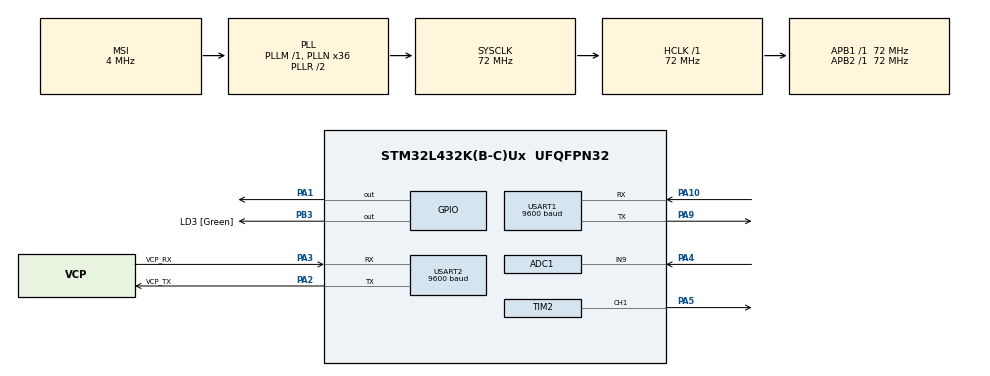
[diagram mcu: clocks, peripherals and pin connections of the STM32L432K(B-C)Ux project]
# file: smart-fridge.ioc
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ADC1.Channel-0\#ChannelRegularConversion=ADC_CHANNEL_9
ADC1.NbrOfConversionFlag=1
ADC1.OffsetNumber-0\#ChannelRegularConversion=ADC_OFFSET_NONE
ADC1.Rank-0\#ChannelRegularConversion=1
ADC1.Resolution=ADC_RESOLUTION_10B
ADC1.SamplingTime-0\#ChannelRegularConversion=ADC_SAMPLETIME_2CYCLES_5
ADC1.master=1
Mcu.Family=STM32L4
Mcu.Name=STM32L432K(B-C)Ux
Mcu.Package=UFQFPN32
NVIC.ADC1_IRQn=true\:0\:0\:false\:false\:true\:true\:true\:true
NVIC.PriorityGroup=NVIC_PRIORITYGROUP_4
NVIC.TIM2_IRQn=true\:0\:0\:false\:false\:true\:true\:true\:true
NVIC.USART1_IRQn=true\:0\:0\:false\:false\:true\:true\:true\:true
NVIC.USART2_IRQn=true\:0\:0\:false\:false\:true\:true\:true\:true
PA0.GPIO_Label=MCO [High speed clock in]
PA0.Mode=HSE-External-Clock-Source-for-LittleOrca
PA0.Signal=RCC_CK_IN
PA1.Signal=GPIO_Output
PA10.Mode=Asynchronous
PA10.Signal=USART1_RX
PA13\ (JTMS-SWDIO).GPIO_Label=SWDIO
PA13\ (JTMS-SWDIO).Mode=Serial_Wire
PA13\ (JTMS-SWDIO).Signal=SYS_JTMS-SWDIO
PA14\ (JTCK-SWCLK).GPIO_Label=SWCLK
PA14\ (JTCK-SWCLK).Mode=Serial_Wire
PA14\ (JTCK-SWCLK).Signal=SYS_JTCK-SWCLK
PA2.GPIO_Label=VCP_TX
PA2.Mode=Asynchronous
PA2.Signal=USART2_TX
PA3.GPIO_Label=VCP_RX
PA3.Mode=Asynchronous
PA3.Signal=USART2_RX
PA4.Signal=ADCx_IN9
PA5.Signal=S_TIM2_CH1
PA9.Mode=Asynchronous
PA9.Signal=USART1_TX
PB3\ (JTDO-TRACESWO).GPIO_Label=LD3 [Green]
PB3\ (JTDO-TRACESWO).Signal=GPIO_Output
PC14-OSC32_IN\ (PC14).Mode=LSE-External-Oscillator
PC14-OSC32_IN\ (PC14).Signal=RCC_OSC32_IN
PC15-OSC32_OUT\ (PC15).Mode=LSE-External-Oscillator
PC15-OSC32_OUT\ (PC15).Signal=RCC_OSC32_OUT
ProjectManager.HeapSize=0x200
ProjectManager.StackSize=0x400
ProjectManager.TargetToolchain=MDK-ARM V5.32
RCC.ADCFreq_Value=32000000
RCC.AHBFreq_Value=72000000
RCC.APB1Freq_Value=72000000
RCC.APB1TimFreq_Value=72000000
RCC.APB2Freq_Value=72000000
RCC.APB2TimFreq_Value=72000000
RCC.CortexFreq_Value=72000000
RCC.HCLKFreq_Value=72000000
RCC.HSE_VALUE=8000000
RCC.HSI16_VALUE=16000000
RCC.HSI48_VALUE=48000000
RCC.HSI_VALUE=16000000
RCC.MSI_VALUE=4000000
RCC.PLLMUL=RCC_PLLMUL_4
RCC.PLLN=36
RCC.PLLSAI1N=16
RCC.SYSCLKFreq_VALUE=72000000
RCC.SYSCLKSource=RCC_SYSCLKSOURCE_PLLCLK
RCC.USBFreq_Value=32000000
RCC.VCOOutputFreq_Value=144000000
SH.ADCx_IN9.0=ADC1_IN9,IN9-Single-Ended
SH.S_TIM2_CH1.0=TIM2_CH1,PWM Generation1 CH1
TIM1.Prescaler=31
TIM2.AutoReloadPreload=TIM_AUTORELOAD_PRELOAD_ENABLE
TIM2.Channel-PWM\ Generation1\ CH1=TIM_CHANNEL_1
TIM2.Period=99
TIM2.Prescaler=719
USART1.BaudRate=9600
USART1.Mode=MODE_RX
USART1.VirtualMode-Asynchronous=VM_ASYNC
USART2.BaudRate=9600
USART2.VirtualMode-Asynchronous=VM_ASYNC
VP_TIM1_VS_ClockSourceINT.Mode=Internal
VP_TIM2_VS_ClockSourceINT.Mode=Internal
board=NUCLEO-L432KC

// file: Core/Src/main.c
/* USER CODE BEGIN Header */
/**
  ******************************************************************************
  * @file           : main.c
  * @brief          : Main program body
  ******************************************************************************
  * @attention
  *
  * Copyright (c) 2022 STMicroelectronics.
  * All rights reserved.
  *
  * This software is licensed under terms that can be found in the LICENSE file
  * in the root directory of this software component.
  * If no LICENSE file comes with this software, it is provided AS-IS.
  *
  ******************************************************************************
  */
/* USER CODE END Header */
#include "main.h"

/* USER CODE BEGIN Includes */
#include "stdio.h"
#include "stdlib.h"
#include "string.h"
/* USER CODE END Includes */

 ADC_HandleTypeDef hadc1;

TIM_HandleTypeDef htim1;
TIM_HandleTypeDef htim2;

UART_HandleTypeDef huart1;
UART_HandleTypeDef huart2;

/* USER CODE BEGIN PV */
float raw =0;
float TempValue =0;
uint8_t uartBuff[100] = {0};
uint8_t rxtemp;
/* USER CODE END PV */

void SystemClock_Config(void);
static void MX_GPIO_Init(void);
static void MX_ADC1_Init(void);
static void MX_TIM1_Init(void);
static void MX_USART2_UART_Init(void);
static void MX_USART1_UART_Init(void);
static void MX_TIM2_Init(void);

int main(void)
{

  /* MCU Configuration--------------------------------------------------------*/

  /* Reset of all peripherals, Initializes the Flash interface and the Systick. */
  HAL_Init();

  /* Configure the system clock */
  SystemClock_Config();

  /* Initialize all configured peripherals */
  MX_GPIO_Init();
  MX_ADC1_Init();
  MX_TIM1_Init();
  MX_USART2_UART_Init();
  MX_USART1_UART_Init();
  MX_TIM2_Init();
  /* USER CODE BEGIN 2 */
	 HAL_TIM_Base_Init(&htim1);
	 HAL_TIM_Base_Start(&htim1);
	 HAL_TIM_Base_Init(&htim2);
	 HAL_TIM_PWM_Start(&htim2, TIM_CHANNEL_1);
	 HAL_ADCEx_Calibration_Start(&hadc1, ADC_CHANNEL_9);
	 TIM2->CCR1 = 50; /* 50% duty cycle*/
	 HAL_UART_Receive_IT(&huart2, &rxtemp,sizeof(rxtemp));

  /* USER CODE END 2 */

  /* Infinite loop */
  while (1)
  {

    /* USER CODE BEGIN 3 */

		/* LM35 */
		// Start ADC Conversion
		HAL_ADC_Start_IT(&hadc1);
		HAL_Delay(1000);

  }
  /* USER CODE END 3 */
}

void SystemClock_Config(void)
{
  RCC_OscInitTypeDef RCC_OscInitStruct = {0};
  RCC_ClkInitTypeDef RCC_ClkInitStruct = {0};

  /** Configure the main internal regulator output voltage
  */
  if (HAL_PWREx_ControlVoltageScaling(PWR_REGULATOR_VOLTAGE_SCALE1) != HAL_OK)
  {
    Error_Handler();
  }

  /** Configure LSE Drive Capability
  */
  HAL_PWR_EnableBkUpAccess();
  __HAL_RCC_LSEDRIVE_CONFIG(RCC_LSEDRIVE_LOW);

  /** Initializes the RCC Oscillators according to the specified parameters
  * in the RCC_OscInitTypeDef structure.
  */
  RCC_OscInitStruct.OscillatorType = RCC_OSCILLATORTYPE_LSE|RCC_OSCILLATORTYPE_MSI;
  RCC_OscInitStruct.LSEState = RCC_LSE_ON;
  RCC_OscInitStruct.MSIState = RCC_MSI_ON;
  RCC_OscInitStruct.MSICalibrationValue = 0;
  RCC_OscInitStruct.MSIClockRange = RCC_MSIRANGE_6;
  RCC_OscInitStruct.PLL.PLLState = RCC_PLL_ON;
  RCC_OscInitStruct.PLL.PLLSource = RCC_PLLSOURCE_MSI;
  RCC_OscInitStruct.PLL.PLLM = 1;
  RCC_OscInitStruct.PLL.PLLN = 36;
  RCC_OscInitStruct.PLL.PLLP = RCC_PLLP_DIV7;
  RCC_OscInitStruct.PLL.PLLQ = RCC_PLLQ_DIV2;
  RCC_OscInitStruct.PLL.PLLR = RCC_PLLR_DIV2;
  if (HAL_RCC_OscConfig(&RCC_OscInitStruct) != HAL_OK)
  {
    Error_Handler();
  }

  /** Initializes the CPU, AHB and APB buses clocks
  */
  RCC_ClkInitStruct.ClockType = RCC_CLOCKTYPE_HCLK|RCC_CLOCKTYPE_SYSCLK
                              |RCC_CLOCKTYPE_PCLK1|RCC_CLOCKTYPE_PCLK2;
  RCC_ClkInitStruct.SYSCLKSource = RCC_SYSCLKSOURCE_PLLCLK;
  RCC_ClkInitStruct.AHBCLKDivider = RCC_SYSCLK_DIV1;
  RCC_ClkInitStruct.APB1CLKDivider = RCC_HCLK_DIV1;
  RCC_ClkInitStruct.APB2CLKDivider = RCC_HCLK_DIV1;

  if (HAL_RCC_ClockConfig(&RCC_ClkInitStruct, FLASH_LATENCY_4) != HAL_OK)
  {
    Error_Handler();
  }

  /** Enable MSI Auto calibration
  */
  HAL_RCCEx_EnableMSIPLLMode();
}

static void MX_ADC1_Init(void)
{

  ADC_ChannelConfTypeDef sConfig = {0};

  /** Common config
  */
  hadc1.Instance = ADC1;
  hadc1.Init.ClockPrescaler = ADC_CLOCK_ASYNC_DIV1;
  hadc1.Init.Resolution = ADC_RESOLUTION_10B;
  hadc1.Init.DataAlign = ADC_DATAALIGN_RIGHT;
  hadc1.Init.ScanConvMode = ADC_SCAN_DISABLE;
  hadc1.Init.EOCSelection = ADC_EOC_SINGLE_CONV;
  hadc1.Init.LowPowerAutoWait = DISABLE;
  hadc1.Init.ContinuousConvMode = DISABLE;
  hadc1.Init.NbrOfConversion = 1;
  hadc1.Init.DiscontinuousConvMode = DISABLE;
  hadc1.Init.ExternalTrigConv = ADC_SOFTWARE_START;
  hadc1.Init.ExternalTrigConvEdge = ADC_EXTERNALTRIGCONVEDGE_NONE;
  hadc1.Init.DMAContinuousRequests = DISABLE;
  hadc1.Init.Overrun = ADC_OVR_DATA_PRESERVED;
  hadc1.Init.OversamplingMode = DISABLE;
  if (HAL_ADC_Init(&hadc1) != HAL_OK)
  {
    Error_Handler();
  }

  /** Configure Regular Channel
  */
  sConfig.Channel = ADC_CHANNEL_9;
  sConfig.Rank = ADC_REGULAR_RANK_1;
  sConfig.SamplingTime = ADC_SAMPLETIME_2CYCLES_5;
  sConfig.SingleDiff = ADC_SINGLE_ENDED;
  sConfig.OffsetNumber = ADC_OFFSET_NONE;
  sConfig.Offset = 0;
  if (HAL_ADC_ConfigChannel(&hadc1, &sConfig) != HAL_OK)
  {
    Error_Handler();
  }

}

static void MX_TIM1_Init(void)
{

  TIM_ClockConfigTypeDef sClockSourceConfig = {0};
  TIM_MasterConfigTypeDef sMasterConfig = {0};

  htim1.Instance = TIM1;
  htim1.Init.Prescaler = 31;
  htim1.Init.CounterMode = TIM_COUNTERMODE_UP;
  htim1.Init.Period = 65535;
  htim1.Init.ClockDivision = TIM_CLOCKDIVISION_DIV1;
  htim1.Init.RepetitionCounter = 0;
  htim1.Init.AutoReloadPreload = TIM_AUTORELOAD_PRELOAD_DISABLE;
  if (HAL_TIM_Base_Init(&htim1) != HAL_OK)
  {
    Error_Handler();
  }
  sClockSourceConfig.ClockSource = TIM_CLOCKSOURCE_INTERNAL;
  if (HAL_TIM_ConfigClockSource(&htim1, &sClockSourceConfig) != HAL_OK)
  {
    Error_Handler();
  }
  sMasterConfig.MasterOutputTrigger = TIM_TRGO_RESET;
  sMasterConfig.MasterOutputTrigger2 = TIM_TRGO2_RESET;
  sMasterConfig.MasterSlaveMode = TIM_MASTERSLAVEMODE_DISABLE;
  if (HAL_TIMEx_MasterConfigSynchronization(&htim1, &sMasterConfig) != HAL_OK)
  {
    Error_Handler();
  }

}

static void MX_TIM2_Init(void)
{

  TIM_ClockConfigTypeDef sClockSourceConfig = {0};
  TIM_MasterConfigTypeDef sMasterConfig = {0};
  TIM_OC_InitTypeDef sConfigOC = {0};

  htim2.Instance = TIM2;
  htim2.Init.Prescaler = 719;
  htim2.Init.CounterMode = TIM_COUNTERMODE_UP;
  htim2.Init.Period = 99;
  htim2.Init.ClockDivision = TIM_CLOCKDIVISION_DIV1;
  htim2.Init.AutoReloadPreload = TIM_AUTORELOAD_PRELOAD_ENABLE;
  if (HAL_TIM_Base_Init(&htim2) != HAL_OK)
  {
    Error_Handler();
  }
  sClockSourceConfig.ClockSource = TIM_CLOCKSOURCE_INTERNAL;
  if (HAL_TIM_ConfigClockSource(&htim2, &sClockSourceConfig) != HAL_OK)
  {
    Error_Handler();
  }
  if (HAL_TIM_PWM_Init(&htim2) != HAL_OK)
  {
    Error_Handler();
  }
  sMasterConfig.MasterOutputTrigger = TIM_TRGO_RESET;
  sMasterConfig.MasterSlaveMode = TIM_MASTERSLAVEMODE_DISABLE;
  if (HAL_TIMEx_MasterConfigSynchronization(&htim2, &sMasterConfig) != HAL_OK)
  {
    Error_Handler();
  }
  sConfigOC.OCMode = TIM_OCMODE_PWM1;
  sConfigOC.Pulse = 0;
  sConfigOC.OCPolarity = TIM_OCPOLARITY_HIGH;
  sConfigOC.OCFastMode = TIM_OCFAST_DISABLE;
  if (HAL_TIM_PWM_ConfigChannel(&htim2, &sConfigOC, TIM_CHANNEL_1) != HAL_OK)
  {
    Error_Handler();
  }
  HAL_TIM_MspPostInit(&htim2);

}

static void MX_USART1_UART_Init(void)
{

  huart1.Instance = USART1;
  huart1.Init.BaudRate = 9600;
  huart1.Init.WordLength = UART_WORDLENGTH_8B;
  huart1.Init.StopBits = UART_STOPBITS_1;
  huart1.Init.Parity = UART_PARITY_NONE;
  huart1.Init.Mode = UART_MODE_RX;
  huart1.Init.HwFlowCtl = UART_HWCONTROL_NONE;
  huart1.Init.OverSampling = UART_OVERSAMPLING_16;
  huart1.Init.OneBitSampling = UART_ONE_BIT_SAMPLE_DISABLE;
  huart1.AdvancedInit.AdvFeatureInit = UART_ADVFEATURE_NO_INIT;
  if (HAL_UART_Init(&huart1) != HAL_OK)
  {
    Error_Handler();
  }

}

static void MX_USART2_UART_Init(void)
{

  huart2.Instance = USART2;
  huart2.Init.BaudRate = 9600;
  huart2.Init.WordLength = UART_WORDLENGTH_8B;
  huart2.Init.StopBits = UART_STOPBITS_1;
  huart2.Init.Parity = UART_PARITY_NONE;
  huart2.Init.Mode = UART_MODE_TX_RX;
  huart2.Init.HwFlowCtl = UART_HWCONTROL_NONE;
  huart2.Init.OverSampling = UART_OVERSAMPLING_16;
  huart2.Init.OneBitSampling = UART_ONE_BIT_SAMPLE_DISABLE;
  huart2.AdvancedInit.AdvFeatureInit = UART_ADVFEATURE_NO_INIT;
  if (HAL_UART_Init(&huart2) != HAL_OK)
  {
    Error_Handler();
  }

}

static void MX_GPIO_Init(void)
{
  GPIO_InitTypeDef GPIO_InitStruct = {0};

  /* GPIO Ports Clock Enable */
  __HAL_RCC_GPIOC_CLK_ENABLE();
  __HAL_RCC_GPIOA_CLK_ENABLE();
  __HAL_RCC_GPIOB_CLK_ENABLE();

  /*Configure GPIO pin Output Level */
  HAL_GPIO_WritePin(GPIOA, GPIO_PIN_1, GPIO_PIN_RESET);

  /*Configure GPIO pin Output Level */
  HAL_GPIO_WritePin(LD3_GPIO_Port, LD3_Pin, GPIO_PIN_RESET);

  /*Configure GPIO pin : PA1 */
  GPIO_InitStruct.Pin = GPIO_PIN_1;
  GPIO_InitStruct.Mode = GPIO_MODE_OUTPUT_PP;
  GPIO_InitStruct.Pull = GPIO_NOPULL;
  GPIO_InitStruct.Speed = GPIO_SPEED_FREQ_LOW;
  HAL_GPIO_Init(GPIOA, &GPIO_InitStruct);

  /*Configure GPIO pin : LD3_Pin */
  GPIO_InitStruct.Pin = LD3_Pin;
  GPIO_InitStruct.Mode = GPIO_MODE_OUTPUT_PP;
  GPIO_InitStruct.Pull = GPIO_NOPULL;
  GPIO_InitStruct.Speed = GPIO_SPEED_FREQ_LOW;
  HAL_GPIO_Init(LD3_GPIO_Port, &GPIO_InitStruct);

}

/* USER CODE BEGIN 4 */
void HAL_ADC_ConvCpltCallback(ADC_HandleTypeDef* hadc)
{

	if (hadc == &hadc1){
    // Read & Update The ADC Result
		raw = HAL_ADC_GetValue(&hadc1);
		TempValue = (((float)raw * 330.0f)/1023.0f);// * 100;
		sprintf((char*)uartBuff, "%0.3f", TempValue);
		HAL_UART_Transmit(&huart2, uartBuff, sizeof(uartBuff),HAL_MAX_DELAY);
		//HAL_UART_Transmit(&huart1, uartBuff, sizeof(uartBuff),HAL_MAX_DELAY);
	}
}

void HAL_UART_RxCpltCallback(UART_HandleTypeDef *huart)
{

	if( huart == &huart2){

		TIM2->CCR1 = (rxtemp == '1') ? 25 : (rxtemp == '2') ? 50 : (rxtemp =='3') ? 75 : 99;
		HAL_UART_Receive_IT(&huart2, &rxtemp,sizeof(rxtemp));

	}
}
/* USER CODE END 4 */

void Error_Handler(void)
{
  __disable_irq();
  while (1)
  {
  }
}
